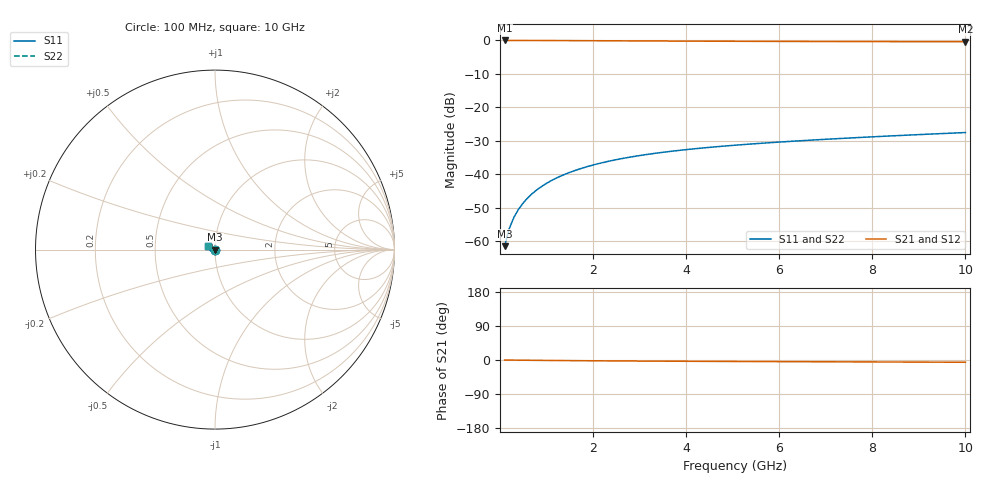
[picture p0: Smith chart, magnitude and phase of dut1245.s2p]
! Touchstone file exported from HFSS 2024.1.0
!  File:  C:/UserFiles/LocalFiles/RDL_TSV_Batchsim/temp_TSV1_1245_1780251771.aedt
!  Generated:  02:31:45 AM Jun  1, 2026
!  Design:  TSV1
!  Project:  temp_TSV1_1245_1780251771
!  Setup:  Setup1
!  Solution:  Sweep
! Variables:
!  dtsv = 6.14um
!  hbump = 3um
!  htsv = 91.41um
!  lrdl = 252.1521522um
!  p = 40
!  p1 = 46.73um
!  t = 500um
!  trdl = 3um
!  wrdl = 24.89489489um
# GHz S MA R 50.000000
! Terminal data exported
! Port[1] = TSV22_T1
! Port[2] = TSV22_T2
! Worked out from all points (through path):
!   100 points, 100 MHz to 10 GHz, reference 50 ohm
!   highest |S21| = 0.00 dB at 100 MHz (marker M1); lowest = -0.4 dB at 10 GHz (marker M2)
!   lowest |S11| = -61.5 dB at 100 MHz (marker M3), VSWR 1.00, Z = 50 - j0.0749 ohm
!   |S11| at or under -10 dB: start of sweep to end of sweep
!   |S22| runs from -61.5 to -27.5 dB; largest |S21 - S12| = 6.3e-15
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0.1  0.0008417 -62.7  0.9996 -0.1  0.9996 -0.1  0.0008417 -62.7
! Gamma 0 0 0 0
! Port Impedance 50 0 50 0
0.2  0.001543 -78.4  0.9995 -0.2  0.9995 -0.2  0.001543 -78.4
0.3  0.002271 -85.4  0.9993 -0.3  0.9993 -0.3  0.002271 -85.4
0.4  0.003003 -90.0  0.9991 -0.5  0.9991 -0.5  0.003003 -90.0
0.5  0.003735 -93.6  0.9989 -0.6  0.9989 -0.6  0.003735 -93.6
0.6  0.004463 -96.6  0.9986 -0.7  0.9986 -0.7  0.004463 -96.6
0.7  0.005186 -99.3  0.9983 -0.8  0.9983 -0.8  0.005186 -99.3
0.8  0.005902 -101.9  0.9979 -0.9  0.9979 -0.9  0.005902 -101.9
0.9  0.006611 -104.2  0.9975 -1.0  0.9975 -1.0  0.006611 -104.2
1.1  0.008004 -108.7  0.9965 -1.2  0.9965 -1.2  0.008004 -108.7
1.4  0.01002 -115.0  0.9949 -1.5  0.9949 -1.5  0.01002 -115.0
1.6  0.01131 -118.9  0.9936 -1.7  0.9936 -1.7  0.01131 -118.9
1.8  0.01255 -122.7  0.9923 -1.9  0.9923 -1.9  0.01255 -122.7
2.1  0.01432 -128.1  0.9902 -2.1  0.9902 -2.1  0.01432 -128.1
2.5  0.01652 -134.9  0.9873 -2.4  0.9873 -2.4  0.01652 -134.9
2.9  0.01855 -141.2  0.9844 -2.7  0.9844 -2.7  0.01855 -141.2
3.4  0.02085 -148.5  0.981 -3.0  0.981 -3.0  0.02085 -148.5
4.2  0.02411 -159.0  0.976 -3.5  0.976 -3.5  0.02411 -159.0
5.1  0.02734 -169.2  0.9712 -3.9  0.9712 -3.9  0.02734 -169.2
6.7  0.03241 175.8  0.9649 -4.6  0.9649 -4.6  0.03241 175.8
8.4  0.03741 163.3  0.9603 -5.3  0.9603 -5.3  0.03741 163.3
10  0.04201 153.7  0.9572 -6.0  0.9572 -6.0  0.04201 153.7
